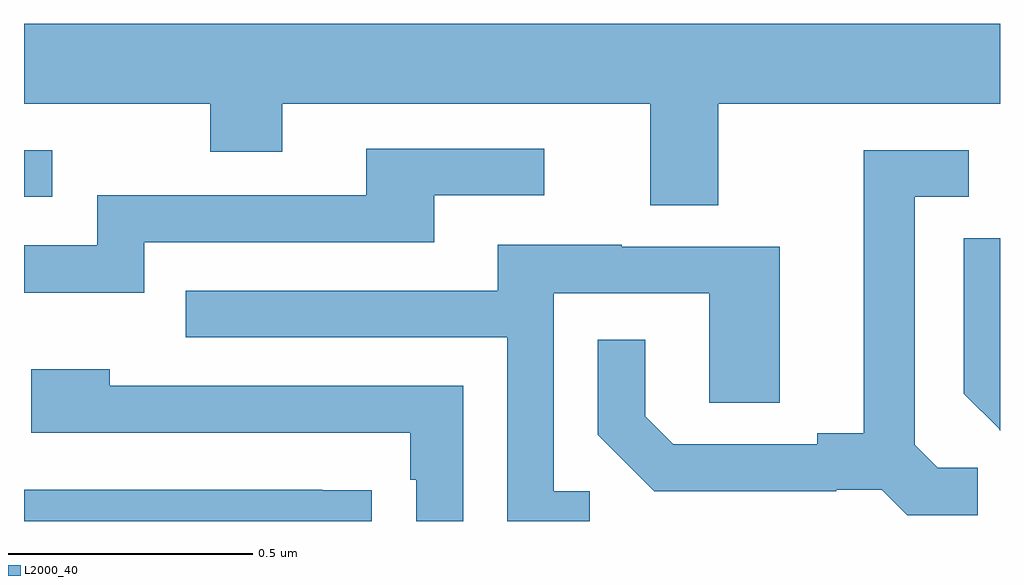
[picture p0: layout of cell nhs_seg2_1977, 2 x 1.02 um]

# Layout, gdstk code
import gdstk
lib = gdstk.Library(unit=1e-6, precision=1e-09)
def R(c, l, rs):  # rectangles x0, y0, x1, y1
    for r in rs: c.add(gdstk.rectangle(r[:2], r[2:], *l))
def P(c, l, *ps):  # polygons
    for p in ps: c.add(gdstk.Polygon(p, *l))
L2000_40 = (2000, 40)

nhs_seg2_1977 = lib.new_cell('nhs_seg2_1977')
R(nhs_seg2_1977, L2000_40, [(135,627.465,135.058,627.561)])
P(nhs_seg2_1977, L2000_40, [(136.423,627.656),(137,627.656),(137,627.82),(135,627.82),(135,627.656),(135.382,627.656),(135.382,627.557),(135.529,627.557),(135.529,627.656),(136.283,627.656),(136.283,627.448),(136.423,627.448)],
  [(135.246,627.372),(135.841,627.372),(135.841,627.468),(136.066,627.468),(136.066,627.564),(135.701,627.564),(135.701,627.468),(135.15,627.468),(135.15,627.366),(135,627.366),(135,627.269),(135.246,627.269)],
  [(136.954,626.91),(136.872,626.91),(136.825,626.957),(136.825,627.465),(136.936,627.465),(136.936,627.561),(136.721,627.561),(136.721,626.981),(136.625,626.981),(136.625,626.958),(136.33,626.958),(136.273,627.015),(136.273,627.172),(136.176,627.172),(136.176,626.978),(136.292,626.862),(136.664,626.862),(136.664,626.865),(136.758,626.865),(136.81,626.813),(136.954,626.813)],
  [(137,627.38),(136.926,627.38),(136.926,627.062),(136.999,626.989),(136.998,626.988),(137,626.986)],
  [(136.159,626.862),(136.086,626.862),(136.086,627.267),(136.404,627.267),(136.404,627.043),(136.549,627.043),(136.549,627.363),(136.225,627.363),(136.225,627.367),(135.971,627.367),(135.971,627.273),(135.331,627.273),(135.331,627.177),(135.99,627.177),(135.99,626.8),(136.159,626.8)],
  [(135.9,627.078),(135.176,627.078),(135.176,627.112),(135.015,627.112),(135.015,626.982),(135.791,626.982),(135.791,626.885),(135.804,626.885),(135.804,626.8),(135.9,626.8)],
  [(135.713,626.864),(135.611,626.864),(135.611,626.865),(135,626.865),(135,626.8),(135.713,626.8)])

lib.write_gds('nhs_seg2_1977.gds')
